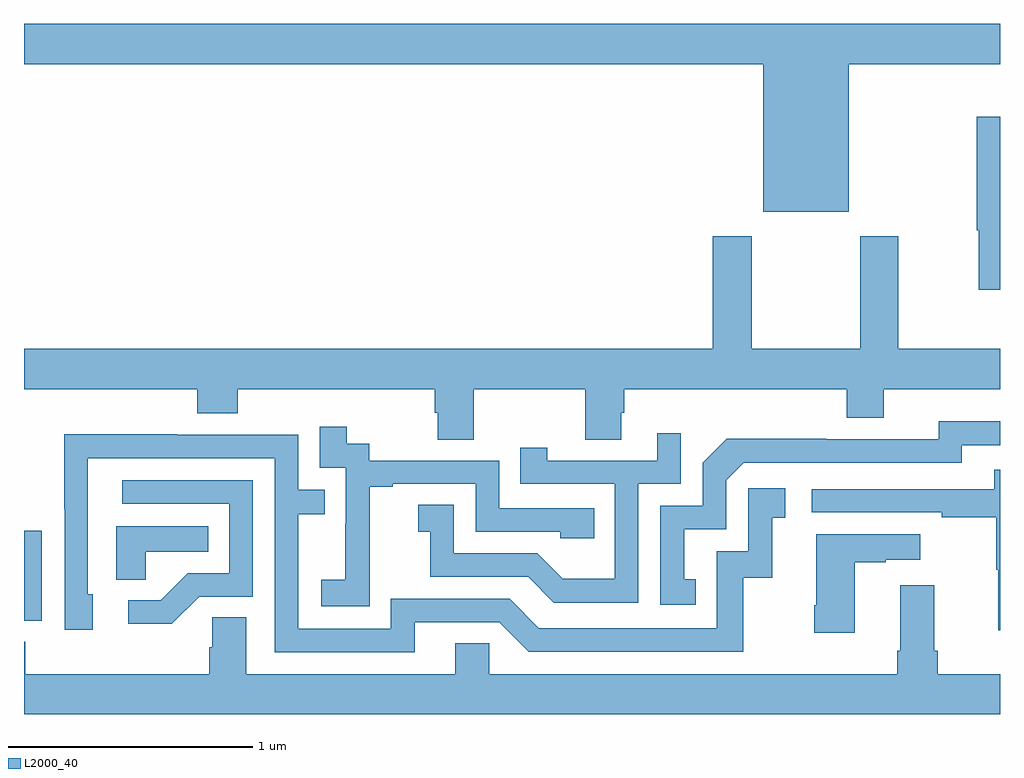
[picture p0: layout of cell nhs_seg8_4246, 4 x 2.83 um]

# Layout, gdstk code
import gdstk
lib = gdstk.Library(unit=1e-6, precision=1e-09)
def R(c, l, rs):  # rectangles x0, y0, x1, y1
    for r in rs: c.add(gdstk.rectangle(r[:2], r[2:], *l))
def P(c, l, *ps):  # polygons
    for p in ps: c.add(gdstk.Polygon(p, *l))
L2000_40 = (2000, 40)

nhs_seg8_4246 = lib.new_cell('nhs_seg8_4246')
R(nhs_seg8_4246, L2000_40, [(371,1112.886,371.073,1113.256)])
P(nhs_seg8_4246, L2000_40, [(374.38,1115.168),(375,1115.168),(375,1115.332),(371,1115.332),(371,1115.168),(374.03,1115.168),(374.03,1114.562),(374.38,1114.562)],
  [(375,1114.952),(374.905,1114.952),(374.905,1114.486),(374.913,1114.486),(374.913,1114.242),(375,1114.242)],
  [(372.843,1113.836),(373.3,1113.836),(373.3,1113.628),(373.447,1113.628),(373.447,1113.738),(373.46,1113.738),(373.46,1113.836),(374.372,1113.836),(374.372,1113.719),(374.524,1113.719),(374.524,1113.836),(375,1113.836),(375,1114),(374.583,1114),(374.583,1114.462),(374.428,1114.462),(374.428,1114),(373.983,1114),(373.983,1114.462),(373.823,1114.462),(373.823,1114),(371,1114),(371,1113.836),(371.711,1113.836),(371.711,1113.737),(371.876,1113.737),(371.876,1113.836),(372.683,1113.836),(372.683,1113.738),(372.695,1113.738),(372.695,1113.628),(372.843,1113.628)],
  [(373.754,1113.057),(373.705,1113.057),(373.705,1113.261),(373.878,1113.261),(373.878,1113.462),(373.95,1113.534),(374.844,1113.534),(374.844,1113.606),(375,1113.606),(375,1113.703),(374.748,1113.703),(374.748,1113.63),(374.288,1113.63),(374.288,1113.632),(373.88,1113.632),(373.782,1113.534),(373.782,1113.357),(373.608,1113.357),(373.608,1112.952),(373.754,1112.952)],
  [(372.417,1113.151),(372.416,1113.151),(372.416,1113.435),(372.511,1113.435),(372.511,1113.447),(372.852,1113.447),(372.852,1113.252),(373.197,1113.252),(373.197,1113.225),(373.337,1113.225),(373.337,1113.348),(372.948,1113.348),(372.948,1113.543),(372.414,1113.543),(372.414,1113.612),(372.322,1113.612),(372.322,1113.682),(372.213,1113.682),(372.213,1113.513),(372.318,1113.513),(372.318,1113.284),(372.317,1113.284),(372.317,1113.055),(372.219,1113.055),(372.219,1112.945),(372.417,1112.945)],
  [(373.518,1113.447),(373.692,1113.447),(373.692,1113.655),(373.595,1113.655),(373.595,1113.543),(373.144,1113.543),(373.144,1113.595),(373.033,1113.595),(373.033,1113.447),(373.422,1113.447),(373.422,1113.058),(373.208,1113.058),(373.104,1113.162),(372.762,1113.162),(372.762,1113.361),(372.615,1113.361),(372.615,1113.251),(372.664,1113.251),(372.664,1113.066),(373.067,1113.066),(373.172,1112.961),(373.518,1112.961)],
  [(372.601,1112.88),(372.948,1112.88),(373.068,1112.76),(373.948,1112.76),(373.948,1113.063),(374.066,1113.063),(374.066,1113.309),(374.119,1113.309),(374.119,1113.43),(373.968,1113.43),(373.968,1113.171),(373.839,1113.171),(373.839,1112.856),(373.11,1112.856),(372.99,1112.976),(372.504,1112.976),(372.504,1112.853),(372.123,1112.853),(372.123,1113.322),(372.233,1113.322),(372.233,1113.423),(372.123,1113.423),(372.123,1113.648),(371.627,1113.648),(371.627,1113.65),(371.164,1113.65),(371.164,1113.343),(371.166,1113.343),(371.166,1112.85),(371.281,1112.85),(371.281,1112.994),(371.262,1112.994),(371.262,1113.552),(372.027,1113.552),(372.027,1112.757),(372.601,1112.757)],
  [(375,1113.505),(374.977,1113.505),(374.977,1113.426),(374.229,1113.426),(374.229,1113.33),(374.761,1113.33),(374.761,1113.31),(374.985,1113.31),(374.985,1113.096),(374.992,1113.096),(374.992,1112.847),(375,1112.847)],
  [(371.718,1112.985),(371.937,1112.985),(371.937,1113.462),(371.403,1113.462),(371.403,1113.366),(371.841,1113.366),(371.841,1113.081),(371.672,1113.081),(371.561,1112.97),(371.427,1112.97),(371.427,1112.873),(371.605,1112.873)],
  [(371.499,1113.17),(371.756,1113.17),(371.756,1113.274),(371.378,1113.274),(371.378,1113.055),(371.499,1113.055)],
  [(374.404,1113.127),(374.531,1113.127),(374.531,1113.137),(374.674,1113.137),(374.674,1113.241),(374.246,1113.241),(374.246,1112.95),(374.239,1112.95),(374.239,1112.838),(374.404,1112.838)],
  [(371.772,1112.9),(371.772,1112.777),(371.759,1112.777),(371.759,1112.668),(371.006,1112.668),(371.006,1112.801),(371,1112.801),(371,1112.504),(375,1112.504),(375,1112.668),(374.744,1112.668),(374.744,1112.764),(374.731,1112.764),(374.731,1113.031),(374.591,1113.031),(374.591,1112.764),(374.579,1112.764),(374.579,1112.668),(372.906,1112.668),(372.906,1112.795),(372.767,1112.795),(372.767,1112.668),(371.911,1112.668),(371.911,1112.9)])

lib.write_gds('nhs_seg8_4246.gds')
